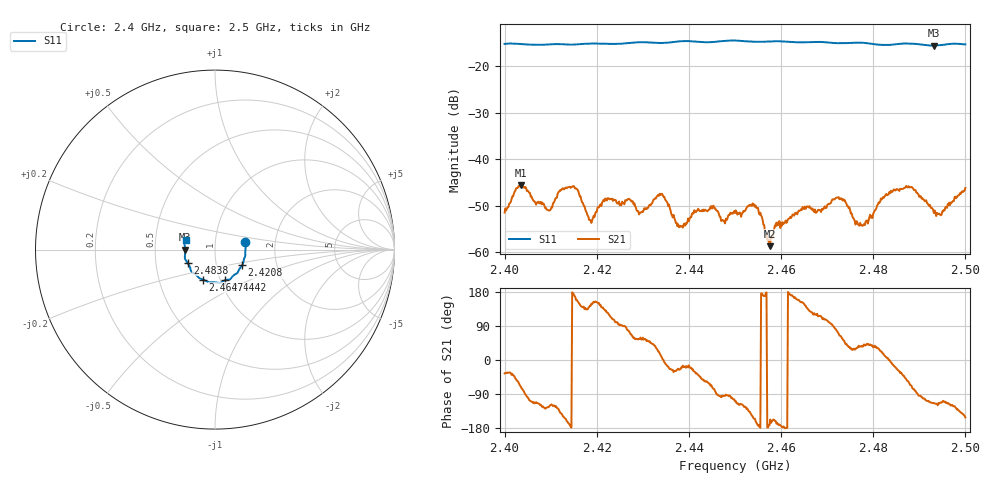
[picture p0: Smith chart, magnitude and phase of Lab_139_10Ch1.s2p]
# Hz S RI R 50
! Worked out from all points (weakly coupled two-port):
!   601 points, 2.4 GHz to 2.5 GHz, reference 50 ohm
!   highest |S21| = -45.52 dB at 2.4035 GHz (marker M1); lowest = -58.7 dB at 2.4575 GHz (marker M2)
!   lowest |S11| = -15.6 dB at 2.4932 GHz (marker M3), VSWR 1.40, Z = 35.8 - j0.0906 ohm
!   |S11| at or under -10 dB: start of sweep to end of sweep
!   S12 and S22 are empty: the file has one direction only
!   S11 on the Smith chart (normalised r, x): 2.4 GHz: 1.40, +0.12; 2.4208 GHz: 1.33, -0.24; 2.4442 GHz: 1.05, -0.37; 2.4647 GHz: 0.83, -0.29; 2.4838 GHz: 0.73, -0.11; 2.5 GHz: 0.72, +0.08
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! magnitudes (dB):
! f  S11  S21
! 2.4 GHz  -15.2  -51.5
! 2.4035 GHz  -15.3  -45.5
! 2.4093 GHz  -15.4  -50.9
! 2.4137 GHz  -15.4  -46.0
! 2.4167 GHz  -15.3  -48.8
! 2.4187 GHz  -15.2  -53.1
! 2.4208 GHz  -15.2  -49.7
! 2.4297 GHz  -14.9  -51.4
! 2.4333 GHz  -15.0  -47.7
! 2.438 GHz  -14.7  -54.6
! 2.4442 GHz  -14.9  -51.0
! 2.45 GHz  -14.5  -51.6
! 2.4543 GHz  -14.8  -50.2
! 2.4575 GHz  -14.7  -58.7
! 2.4647 GHz  -14.9  -50.3
! 2.4667 GHz  -14.8  -50.8
! 2.4727 GHz  -15.1  -48.6
! 2.4778 GHz  -15.0  -54.2
! 2.4833 GHz  -15.5  -47.6
! 2.4838 GHz  -15.4  -46.8
! 2.4932 GHz  -15.6  -51.6
! 2.5 GHz  -15.3  -46.2
